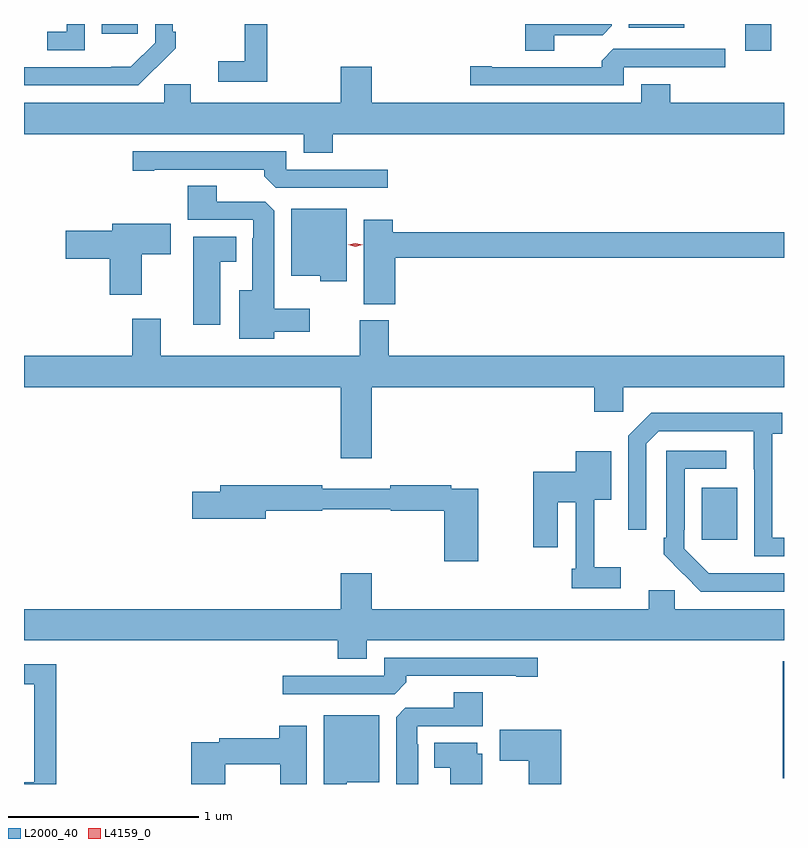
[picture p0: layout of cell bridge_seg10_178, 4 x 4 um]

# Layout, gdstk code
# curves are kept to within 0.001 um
import gdstk
lib = gdstk.Library(unit=1e-6, precision=1e-09)
def R(c, l, rs):  # rectangles x0, y0, x1, y1
    for r in rs: c.add(gdstk.rectangle(r[:2], r[2:], *l))
def P(c, l, *ps):  # polygons
    for p in ps: c.add(gdstk.Polygon(p, *l))
L2000_40 = (2000, 40)
L4159_0 = (4159, 0)

bridge_seg10_178 = lib.new_cell('bridge_seg10_178')
R(bridge_seg10_178, L2000_40, [(179.323,1290.265,179.329,1290.882), (178.895,1291.521,179.083,1291.795), (179.126,1294.095,179.261,1294.235), (175.739,1294.185,175.927,1294.235), (178.511,1294.214,178.804,1294.235)])
P(bridge_seg10_178, L2000_40, [(176.021,1294.003),(176.022,1294.002),(176.127,1294.107),(176.127,1294.195),(176.112,1294.195),(176.112,1294.235),(176.019,1294.235),(176.019,1294.137),(175.891,1294.009),(175.329,1294.008),(175.329,1293.912),(175.93,1293.912)],
  [(175.65,1294.235),(175.554,1294.235),(175.554,1294.194),(175.452,1294.194),(175.452,1294.098),(175.65,1294.098)],
  [(178.12,1294.176),(178.374,1294.176),(178.423,1294.225),(178.423,1294.235),(177.968,1294.235),(177.968,1294.093),(178.12,1294.093)],
  [(176.609,1294.235),(176.492,1294.235),(176.492,1294.039),(176.352,1294.039),(176.352,1293.93),(176.609,1293.93)],
  [(178.485,1294.008),(179.02,1294.008),(179.02,1294.104),(178.431,1294.104),(178.37,1294.042),(178.37,1294.008),(177.79,1294.008),(177.79,1294.013),(177.678,1294.013),(177.678,1293.912),(178.485,1293.912)],
  [(176.954,1293.656),(179.329,1293.656),(179.329,1293.82),(178.73,1293.82),(178.73,1293.919),(178.577,1293.919),(178.577,1293.82),(177.16,1293.82),(177.16,1294.009),(176.996,1294.009),(176.996,1293.82),(176.206,1293.82),(176.206,1293.918),(176.067,1293.918),(176.067,1293.82),(175.329,1293.82),(175.329,1293.656),(176.801,1293.656),(176.801,1293.557),(176.954,1293.557)],
  [(177.244,1293.468),(176.709,1293.468),(176.709,1293.564),(175.902,1293.564),(175.902,1293.463),(176.014,1293.463),(176.014,1293.468),(176.594,1293.468),(176.594,1293.434),(176.655,1293.372),(177.244,1293.372)],
  [(176.647,1292.615),(176.833,1292.615),(176.833,1292.737),(176.647,1292.737),(176.647,1293.251),(176.598,1293.3),(176.344,1293.3),(176.344,1293.383),(176.192,1293.383),(176.192,1293.204),(176.535,1293.204),(176.535,1293.107),(176.531,1293.107),(176.531,1292.833),(176.462,1292.833),(176.462,1292.579),(176.647,1292.579)],
  [(177.028,1293.262),(176.735,1293.262),(176.735,1292.909),(176.889,1292.909),(176.889,1292.882),(177.028,1292.882)],
  [(177.284,1293.004),(179.329,1293.004),(179.329,1293.14),(177.271,1293.14),(177.271,1293.205),(177.116,1293.205),(177.116,1292.761),(177.284,1292.761)],
  [(175.948,1293.022),(176.101,1293.022),(176.101,1293.184),(175.793,1293.184),(175.793,1293.146),(175.548,1293.146),(175.548,1292.999),(175.781,1292.999),(175.781,1292.811),(175.948,1292.811)],
  [(176.362,1292.984),(176.446,1292.984),(176.446,1293.115),(176.219,1293.115),(176.219,1292.652),(176.362,1292.652)],
  [(177.16,1292.324),(178.331,1292.324),(178.331,1292.193),(178.482,1292.193),(178.482,1292.324),(179.329,1292.324),(179.329,1292.488),(177.248,1292.488),(177.248,1292.676),(177.095,1292.676),(177.095,1292.488),(176.05,1292.488),(176.05,1292.683),(175.898,1292.683),(175.898,1292.488),(175.329,1292.488),(175.329,1292.324),(176.996,1292.324),(176.996,1291.95),(177.16,1291.95)],
  [(179.329,1291.53),(179.268,1291.53),(179.268,1292.078),(179.32,1292.078),(179.32,1292.188),(178.63,1292.188),(178.509,1292.067),(178.509,1291.572),(178.605,1291.572),(178.605,1292.025),(178.671,1292.091),(179.171,1292.091),(179.172,1291.434),(179.329,1291.434)],
  [(179.329,1291.344),(178.932,1291.345),(178.803,1291.473),(178.803,1291.573),(178.806,1291.573),(178.806,1291.893),(179.026,1291.893),(179.026,1291.989),(178.71,1291.989),(178.71,1291.531),(178.695,1291.531),(178.695,1291.443),(178.892,1291.248),(179.329,1291.248)],
  [(178.471,1291.375),(178.331,1291.375),(178.331,1291.73),(178.42,1291.73),(178.42,1291.987),(178.232,1291.987),(178.232,1291.878),(178.009,1291.878),(178.009,1291.482),(178.138,1291.482),(178.138,1291.718),(178.233,1291.718),(178.233,1291.369),(178.213,1291.369),(178.213,1291.266),(178.471,1291.266)],
  [(177.72,1291.788),(177.578,1291.788),(177.578,1291.808),(177.256,1291.808),(177.256,1291.789),(176.9,1291.789),(176.9,1291.808),(176.363,1291.808),(176.363,1291.772),(176.214,1291.772),(176.214,1291.63),(176.602,1291.63),(176.602,1291.672),(176.898,1291.672),(176.898,1291.68),(177.258,1291.68),(177.258,1291.672),(177.542,1291.672),(177.542,1291.407),(177.72,1291.407)],
  [(177.133,1290.992),(179.329,1290.992),(179.329,1291.156),(178.755,1291.156),(178.755,1291.254),(178.616,1291.254),(178.616,1291.156),(177.16,1291.156),(177.16,1291.345),(176.996,1291.345),(176.996,1291.156),(175.329,1291.156),(175.329,1290.992),(176.981,1290.992),(176.981,1290.893),(177.133,1290.893)],
  [(177.341,1290.77),(177.341,1290.804),(177.92,1290.804),(177.92,1290.799),(178.033,1290.799),(178.033,1290.9),(177.225,1290.9),(177.225,1290.804),(176.691,1290.804),(176.691,1290.708),(177.279,1290.708)],
  [(175.499,1290.865),(175.329,1290.865),(175.329,1290.759),(175.383,1290.759),(175.383,1290.243),(175.329,1290.243),(175.329,1290.235),(175.499,1290.235)],
  [(177.403,1290.443),(177.399,1290.443),(177.399,1290.54),(177.743,1290.54),(177.743,1290.719),(177.59,1290.719),(177.59,1290.636),(177.336,1290.636),(177.287,1290.587),(177.287,1290.235),(177.403,1290.235)],
  [(177.028,1290.245),(177.199,1290.245),(177.199,1290.598),(176.906,1290.598),(176.906,1290.235),(177.028,1290.235)],
  [(176.388,1290.34),(176.677,1290.34),(176.677,1290.235),(176.818,1290.235),(176.818,1290.541),(176.672,1290.541),(176.672,1290.476),(176.356,1290.476),(176.356,1290.456),(176.21,1290.456),(176.21,1290.235),(176.388,1290.235)],
  [(178.156,1290.52),(177.834,1290.52),(177.834,1290.358),(177.986,1290.358),(177.986,1290.235),(178.156,1290.235)],
  [(177.742,1290.393),(177.715,1290.393),(177.715,1290.451),(177.488,1290.451),(177.488,1290.32),(177.572,1290.32),(177.572,1290.235),(177.742,1290.235)])
P(bridge_seg10_178, L4159_0, [(177.073,1293.062),(177.035,1293.072),(177.035,1293.072),(177.035,1293.072),(177.073,1293.082),(177.111,1293.072),(177.111,1293.072),(177.111,1293.072)])

lib.write_gds('bridge_seg10_178.gds')
